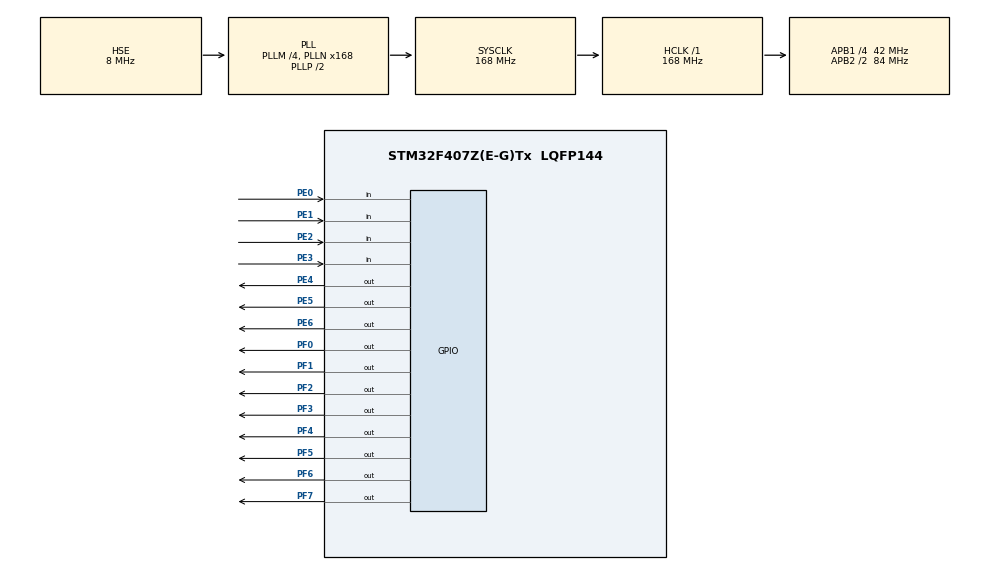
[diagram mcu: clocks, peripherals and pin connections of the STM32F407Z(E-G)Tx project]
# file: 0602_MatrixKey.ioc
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Mcu.Family=STM32F4
Mcu.Name=STM32F407Z(E-G)Tx
Mcu.Package=LQFP144
NVIC.PriorityGroup=NVIC_PRIORITYGROUP_4
PA13.Mode=Serial_Wire
PA13.Signal=SYS_JTMS-SWDIO
PA14.Mode=Serial_Wire
PA14.Signal=SYS_JTCK-SWCLK
PE0.GPIO_PuPd=GPIO_PULLUP
PE0.Signal=GPIO_Input
PE1.GPIO_PuPd=GPIO_PULLUP
PE1.Signal=GPIO_Input
PE2.GPIO_PuPd=GPIO_PULLUP
PE2.Signal=GPIO_Input
PE3.GPIO_PuPd=GPIO_PULLUP
PE3.Signal=GPIO_Input
PE4.GPIO_PuPd=GPIO_NOPULL
PE4.PinState=GPIO_PIN_SET
PE4.Signal=GPIO_Output
PE5.PinState=GPIO_PIN_SET
PE5.Signal=GPIO_Output
PE6.PinState=GPIO_PIN_SET
PE6.Signal=GPIO_Output
PF0.PinState=GPIO_PIN_SET
PF0.Signal=GPIO_Output
PF1.PinState=GPIO_PIN_SET
PF1.Signal=GPIO_Output
PF2.PinState=GPIO_PIN_SET
PF2.Signal=GPIO_Output
PF3.PinState=GPIO_PIN_SET
PF3.Signal=GPIO_Output
PF4.PinState=GPIO_PIN_SET
PF4.Signal=GPIO_Output
PF5.PinState=GPIO_PIN_SET
PF5.Signal=GPIO_Output
PF6.PinState=GPIO_PIN_SET
PF6.Signal=GPIO_Output
PF7.PinState=GPIO_PIN_SET
PF7.Signal=GPIO_Output
PH0-OSC_IN.Mode=HSE-External-Oscillator
PH0-OSC_IN.Signal=RCC_OSC_IN
PH1-OSC_OUT.Mode=HSE-External-Oscillator
PH1-OSC_OUT.Signal=RCC_OSC_OUT
ProjectManager.HeapSize=0x200
ProjectManager.StackSize=0x400
ProjectManager.TargetToolchain=MDK-ARM V5.32
RCC.48MHZClocksFreq_Value=84000000
RCC.AHBFreq_Value=168000000
RCC.APB1CLKDivider=RCC_HCLK_DIV4
RCC.APB1Freq_Value=42000000
RCC.APB1TimFreq_Value=84000000
RCC.APB2CLKDivider=RCC_HCLK_DIV2
RCC.APB2Freq_Value=84000000
RCC.APB2TimFreq_Value=168000000
RCC.CortexFreq_Value=168000000
RCC.HCLKFreq_Value=168000000
RCC.HSE_VALUE=8000000
RCC.HSI_VALUE=16000000
RCC.LSE_VALUE=32768
RCC.PLLM=4
RCC.PLLN=168
RCC.PLLSourceVirtual=RCC_PLLSOURCE_HSE
RCC.SYSCLKFreq_VALUE=168000000
RCC.SYSCLKSource=RCC_SYSCLKSOURCE_PLLCLK
RCC.VCOOutputFreq_Value=336000000
board=custom

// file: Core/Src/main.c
/* USER CODE BEGIN Header */
/**
  ******************************************************************************
  * @file           : main.c
  * @brief          : Main program body
  ******************************************************************************
  * @attention
  *
  * Copyright (c) 2026 STMicroelectronics.
  * All rights reserved.
  *
  * This software is licensed under terms that can be found in the LICENSE file
  * in the root directory of this software component.
  * If no LICENSE file comes with this software, it is provided AS-IS.
  ******************************************************************************
  */
/* USER CODE END Header */
#include "main.h"
#include "gpio.h"

void SystemClock_Config(void);

int main(void)
{
  /* USER CODE BEGIN 1 */
  uint16_t i;
  uint8_t KeyVal=0;
  uint8_t PreLine[3]={2,0,1};
  /* USER CODE END 1 */

  /* MCU Configuration--------------------------------------------------------*/

  /* Reset of all peripherals, Initializes the Flash interface and the Systick. */
  HAL_Init();

  /* Configure the system clock */
  SystemClock_Config();

  /* Initialize all configured peripherals */
  MX_GPIO_Init();

  /* Infinite loop */
  while (1)
  {
    /* USER CODE BEGIN 3 */
    // PE4 PE5 PE6?????
    GPIOE->BSRR = (1U << 4) | (1U << 5) | (1U << 6);

    for(i=0;i<3;i++)
    {
        //?????
        GPIOE->BSRR = 1U << (i + 4 + 16U);
        HAL_Delay(1);   //??????????????,???IDR

        if((GPIOE->IDR & 0x0F)!=0x0F)
        {
            HAL_Delay(16);
            if((GPIOE->IDR & 0x0F)!=0x0F)
            {
                switch((GPIOE->IDR & 0x0F))
                {
                    case 0x0E:KeyVal=4*PreLine[i]+1;break;
                    case 0x0D:KeyVal=4*PreLine[i]+2;break;
                    case 0x0B:KeyVal=4*PreLine[i]+3;break;
                    case 0x07:KeyVal=4*PreLine[i]+4;break;
                    default :break;
                }
            }
        }
        //??????,??
        GPIOE->BSRR = 1U << (i + 4);
    }
    //PPT??BCD??
    GPIOF->ODR=~(((KeyVal/10U)<<4U)+KeyVal%10U);
    /* USER CODE END 3 */
  }
}

void SystemClock_Config(void)
{
  RCC_OscInitTypeDef RCC_OscInitStruct = {0};
  RCC_ClkInitTypeDef RCC_ClkInitStruct = {0};

  /** Configure the main internal regulator output voltage
  */
  __HAL_RCC_PWR_CLK_ENABLE();
  __HAL_PWR_VOLTAGESCALING_CONFIG(PWR_REGULATOR_VOLTAGE_SCALE1);

  /** Initializes the RCC Oscillators according to the specified parameters
  * in the RCC_OscInitTypeDef structure.
  */
  RCC_OscInitStruct.OscillatorType = RCC_OSCILLATORTYPE_HSE;
  RCC_OscInitStruct.HSEState = RCC_HSE_ON;
  RCC_OscInitStruct.PLL.PLLState = RCC_PLL_ON;
  RCC_OscInitStruct.PLL.PLLSource = RCC_PLLSOURCE_HSE;
  RCC_OscInitStruct.PLL.PLLM = 4;
  RCC_OscInitStruct.PLL.PLLN = 168;
  RCC_OscInitStruct.PLL.PLLP = RCC_PLLP_DIV2;
  RCC_OscInitStruct.PLL.PLLQ = 4;
  if (HAL_RCC_OscConfig(&RCC_OscInitStruct) != HAL_OK)
  {
    Error_Handler();
  }

  /** Initializes the CPU, AHB and APB buses clocks
  */
  RCC_ClkInitStruct.ClockType = RCC_CLOCKTYPE_HCLK|RCC_CLOCKTYPE_SYSCLK
                              |RCC_CLOCKTYPE_PCLK1|RCC_CLOCKTYPE_PCLK2;
  RCC_ClkInitStruct.SYSCLKSource = RCC_SYSCLKSOURCE_PLLCLK;
  RCC_ClkInitStruct.AHBCLKDivider = RCC_SYSCLK_DIV1;
  RCC_ClkInitStruct.APB1CLKDivider = RCC_HCLK_DIV4;
  RCC_ClkInitStruct.APB2CLKDivider = RCC_HCLK_DIV2;

  if (HAL_RCC_ClockConfig(&RCC_ClkInitStruct, FLASH_LATENCY_5) != HAL_OK)
  {
    Error_Handler();
  }
}

void Error_Handler(void)
{
  __disable_irq();
  while (1)
  {
  }
}
